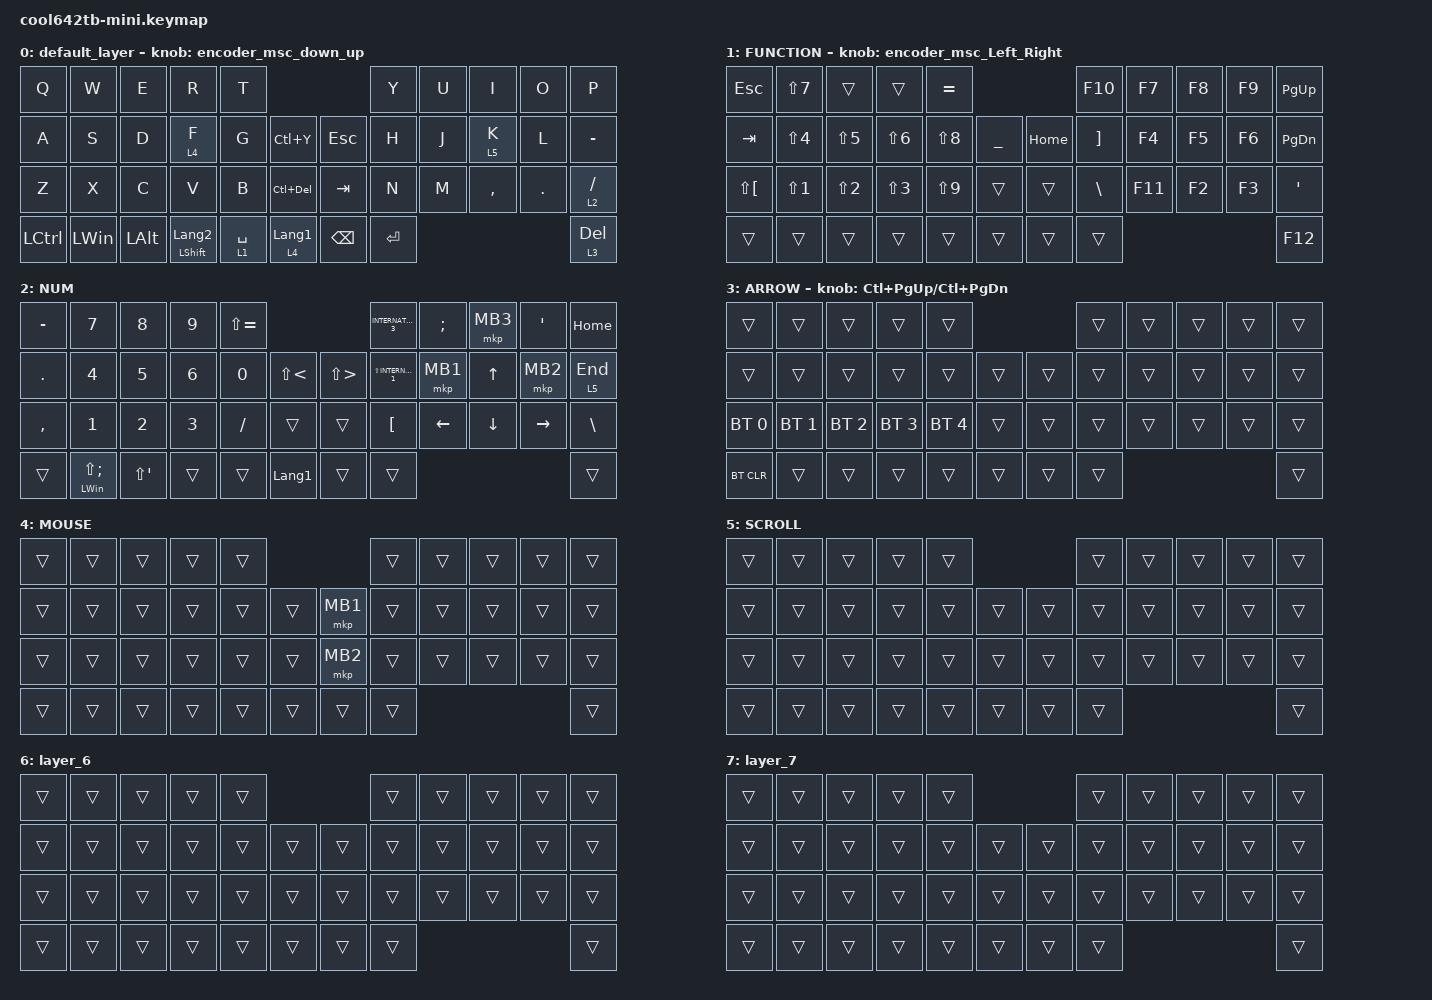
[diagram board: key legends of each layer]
#include <behaviors.dtsi>
#include <dt-bindings/zmk/bt.h>
#include <dt-bindings/zmk/keys.h>
#include <dt-bindings/zmk/pointing.h>

#define MOUSE 4
#define SCROLL 5
#define NUM 6
#define ZMK_POINTING_DEFAULT_SCRL_VAL 80

&mt {
    flavor = "balanced";
    quick-tap-ms = <0>;
};

/ {
    combos { compatible = "zmk,combos"; };

    behaviors {
        encoder_msc_down_up: encoder_msc_down_up {
            compatible = "zmk,behavior-sensor-rotate";
            label = "ENCODER_MSC_DOWN_UP";
            #sensor-binding-cells = <0>;
            bindings = <&msc SCRL_UP>, <&msc SCRL_DOWN>;

            tap-ms = <20>;
        };

        encoder_msc_Left_Right: encoder_msc_Left_Right {
            compatible = "zmk,behavior-sensor-rotate";
            label = "ENCODER_MSC_LEFT_RIGHT";
            #sensor-binding-cells = <0>;
            bindings = <&msc SCRL_LEFT>, <&msc SCRL_RIGHT>;

            tap-ms = <20>;
        };
    };

    keymap {
        compatible = "zmk,keymap";

        default_layer {
            bindings = <
&kp Q      &kp W         &kp E         &kp R                      &kp T                                             &kp Y      &kp U  &kp I      &kp O    &kp P
&kp A      &kp S         &kp D         &lt 4 F                    &kp G        &kp LC(Y)             &kp ESCAPE     &kp H      &kp J  &lt 5 K    &kp L    &kp MINUS
&kp Z      &kp X         &kp C         &kp V                      &kp B        &kp LC(DELETE)        &kp TAB        &kp N      &kp M  &kp COMMA  &kp DOT  &lt 2 SLASH
&kp LCTRL  &kp LEFT_WIN  &kp LEFT_ALT  &mt LEFT_SHIFT LANGUAGE_2  &lt 1 SPACE  &lt 4 LANGUAGE_1      &kp BACKSPACE  &kp ENTER                             &lt 3 DELETE
            >;

            sensor-bindings = <&encoder_msc_down_up>;
        };

        FUNCTION {
            bindings = <
&kp ESCAPE            &kp LS(N7)        &trans            &trans            &kp EQUAL                            &kp F10            &kp F7   &kp F8  &kp F9  &kp PAGE_UP
&kp TAB               &kp LS(NUMBER_4)  &kp LS(N5)        &kp LS(NUMBER_6)  &kp LS(N8)  &kp UNDER      &kp HOME  &kp RIGHT_BRACKET  &kp F4   &kp F5  &kp F6  &kp PAGE_DOWN
&kp LS(LEFT_BRACKET)  &kp LS(NUMBER_1)  &kp LS(NUMBER_2)  &kp LS(NUMBER_3)  &kp LS(N9)  &trans         &trans    &kp BACKSLASH      &kp F11  &kp F2  &kp F3  &kp SQT
&trans                &trans            &trans            &trans            &trans      &trans         &trans    &trans                                      &kp F12
            >;

            sensor-bindings = <&encoder_msc_Left_Right>;
        };

        NUM {
            bindings = <
&kp MINUS   &kp N7                      &kp N8        &kp N9        &kp LS(EQUAL)                                  &kp INTERNATIONAL_3      &kp SEMICOLON   &mkp MB3        &kp SQT          &kp HOME
&kp PERIOD  &kp NUMBER_4                &kp N5        &kp NUMBER_6  &kp N0         &kp LS(LT)          &kp LS(GT)  &kp LS(INTERNATIONAL_1)  &mkp MB1        &kp UP_ARROW    &mkp MB2         &lt 5 END
&kp COMMA   &kp NUMBER_1                &kp NUMBER_2  &kp NUMBER_3  &kp SLASH      &trans              &trans      &kp LEFT_BRACKET         &kp LEFT_ARROW  &kp DOWN_ARROW  &kp RIGHT_ARROW  &kp BACKSLASH
&trans      &mt LEFT_WIN LS(SEMICOLON)  &kp LS(SQT)   &trans        &trans         &kp LANGUAGE_1      &trans      &trans                                                                    &trans
            >;
        };

        ARROW {
            bindings = <
&trans        &trans        &trans        &trans        &trans                            &trans  &trans  &trans  &trans  &trans
&trans        &trans        &trans        &trans        &trans        &trans      &trans  &trans  &trans  &trans  &trans  &trans
&bt BT_SEL 0  &bt BT_SEL 1  &bt BT_SEL 2  &bt BT_SEL 3  &bt BT_SEL 4  &trans      &trans  &trans  &trans  &trans  &trans  &trans
&bt BT_CLR    &trans        &trans        &trans        &trans        &trans      &trans  &trans                          &trans
            >;

            sensor-bindings = <&inc_dec_kp LC(PAGE_UP) LC(PAGE_DOWN)>;
        };

        MOUSE {
            bindings = <
&trans  &trans  &trans  &trans  &trans                        &trans  &trans  &trans  &trans  &trans
&trans  &trans  &trans  &trans  &trans  &trans      &mkp MB1  &trans  &trans  &trans  &trans  &trans
&trans  &trans  &trans  &trans  &trans  &trans      &mkp MB2  &trans  &trans  &trans  &trans  &trans
&trans  &trans  &trans  &trans  &trans  &trans      &trans    &trans                          &trans
            >;
        };

        SCROLL {
            bindings = <
&trans  &trans  &trans  &trans  &trans                      &trans  &trans  &trans  &trans  &trans
&trans  &trans  &trans  &trans  &trans  &trans      &trans  &trans  &trans  &trans  &trans  &trans
&trans  &trans  &trans  &trans  &trans  &trans      &trans  &trans  &trans  &trans  &trans  &trans
&trans  &trans  &trans  &trans  &trans  &trans      &trans  &trans                          &trans
            >;
        };

        layer_6 {
            bindings = <
&trans  &trans  &trans  &trans  &trans                      &trans  &trans  &trans  &trans  &trans
&trans  &trans  &trans  &trans  &trans  &trans      &trans  &trans  &trans  &trans  &trans  &trans
&trans  &trans  &trans  &trans  &trans  &trans      &trans  &trans  &trans  &trans  &trans  &trans
&trans  &trans  &trans  &trans  &trans  &trans      &trans  &trans                          &trans
            >;
        };

        layer_7 {
            bindings = <
&trans  &trans  &trans  &trans  &trans                      &trans  &trans  &trans  &trans  &trans
&trans  &trans  &trans  &trans  &trans  &trans      &trans  &trans  &trans  &trans  &trans  &trans
&trans  &trans  &trans  &trans  &trans  &trans      &trans  &trans  &trans  &trans  &trans  &trans
&trans  &trans  &trans  &trans  &trans  &trans      &trans  &trans                          &trans
            >;
        };
    };
};
